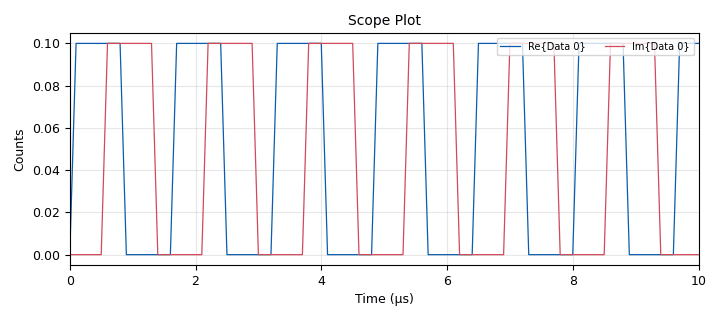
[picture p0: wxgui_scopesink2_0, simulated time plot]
<?xml version='1.0' encoding='utf-8'?>
<?grc format='1' created='3.7.9'?>
<flow_graph>
<block>
<key>options</key>
<param><key>id</key><value>top_block</value></param>
<param><key>category</key><value>Custom</value></param>
<param><key>generate_options</key><value>wx_gui</value></param>
</block>
<block>
<key>variable_slider</key>
<param><key>id</key><value>amp</value></param>
<param><key>converver</key><value>float_converter</value></param>
<param><key>value</key><value>0.1</value></param>
<param><key>label</key><value></value></param>
<param><key>max</key><value>1</value></param>
<param><key>min</key><value>0.1</value></param>
<param><key>num_steps</key><value>1000</value></param>
<param><key>style</key><value>wx.SL_HORIZONTAL</value></param>
</block>
<block>
<key>variable</key>
<param><key>id</key><value>samp_rate</value></param>
<param><key>value</key><value>10e6</value></param>
</block>
<block>
<key>variable_slider</key>
<param><key>id</key><value>slider_freq</value></param>
<param><key>converver</key><value>float_converter</value></param>
<param><key>value</key><value>0</value></param>
<param><key>_enabled</key><value>0</value></param>
<param><key>label</key><value>Ganancia canal</value></param>
<param><key>max</key><value>0</value></param>
<param><key>min</key><value>0</value></param>
<param><key>num_steps</key><value>100</value></param>
<param><key>style</key><value>wx.SL_HORIZONTAL</value></param>
</block>
<block>
<key>variable_slider</key>
<param><key>id</key><value>variable_slider_1</value></param>
<param><key>converver</key><value>float_converter</value></param>
<param><key>value</key><value>1e6</value></param>
<param><key>label</key><value>Frecuencia</value></param>
<param><key>max</key><value>10e6</value></param>
<param><key>min</key><value>50e3</value></param>
<param><key>num_steps</key><value>1000</value></param>
<param><key>style</key><value>wx.SL_HORIZONTAL</value></param>
</block>
<block>
<key>variable_text_box</key>
<param><key>id</key><value>variable_text_box_0</value></param>
<param><key>converver</key><value>float_converter</value></param>
<param><key>value</key><value>0</value></param>
<param><key>formatter</key><value>None</value></param>
<param><key>label</key><value></value></param>
</block>
<block>
<key>analog_sig_source_x</key>
<param><key>id</key><value>analog_sig_source_x_0</value></param>
<param><key>amp</key><value>1</value></param>
<param><key>_enabled</key><value>0</value></param>
<param><key>freq</key><value>variable_slider_1</value></param>
<param><key>offset</key><value>0</value></param>
<param><key>type</key><value>float</value></param>
<param><key>samp_rate</key><value>samp_rate</value></param>
<param><key>waveform</key><value>analog.GR_SQR_WAVE</value></param>
</block>
<block>
<key>blocks_delay</key>
<param><key>id</key><value>blocks_delay_0</value></param>
<param><key>delay</key><value>int(samp_rate/variable_slider_1/2)</value></param>
<param><key>type</key><value>float</value></param>
</block>
<block>
<key>blocks_float_to_complex</key>
<param><key>id</key><value>blocks_float_to_complex_0</value></param>
</block>
<block>
<key>blocks_multiply_const_vxx</key>
<param><key>id</key><value>blocks_multiply_const_vxx_0</value></param>
<param><key>const</key><value>amp</value></param>
<param><key>type</key><value>float</value></param>
</block>
<block>
<key>blocks_vector_source_x</key>
<param><key>id</key><value>blocks_vector_source_x_0</value></param>
<param><key>type</key><value>float</value></param>
<param><key>repeat</key><value>True</value></param>
<param><key>vector</key><value>(0, 0, 0,0,0,0,0,0,1,1,1,1,1,1,1,1)</value></param>
</block>
<block>
<key>uhd_usrp_sink</key>
<param><key>id</key><value>uhd_usrp_sink_0</value></param>
<param><key>ant0</key><value>TX/RX</value></param>
<param><key>center_freq0</key><value>0</value></param>
<param><key>norm_gain0</key><value>False</value></param>
<param><key>gain0</key><value>0</value></param>
<param><key>clock_rate</key><value>0.0</value></param>
<param><key>dev_args</key><value>""</value></param>
<param><key>type</key><value>fc32</value></param>
<param><key>samp_rate</key><value>samp_rate</value></param>
<param><key>hide_cmd_port</key><value>False</value></param>
<param><key>sync</key><value></value></param>
<param><key>len_tag_name</key><value></value></param>
</block>
<block>
<key>wxgui_scopesink2</key>
<param><key>id</key><value>wxgui_scopesink2_0</value></param>
<param><key>ac_couple</key><value>False</value></param>
<param><key>num_inputs</key><value>1</value></param>
<param><key>samp_rate</key><value>samp_rate</value></param>
<param><key>t_scale</key><value>0</value></param>
<param><key>title</key><value>Scope Plot</value></param>
<param><key>trig_mode</key><value>wxgui.TRIG_MODE_AUTO</value></param>
<param><key>type</key><value>complex</value></param>
<param><key>v_offset</key><value>0</value></param>
<param><key>v_scale</key><value>0</value></param>
<param><key>xy_mode</key><value>False</value></param>
<param><key>y_axis_label</key><value>Counts</value></param>
</block>
<connection><source_block_id>analog_sig_source_x_0</source_block_id><sink_block_id>blocks_multiply_const_vxx_0</sink_block_id><source_key>0</source_key><sink_key>0</sink_key></connection>
<connection><source_block_id>blocks_delay_0</source_block_id><sink_block_id>blocks_float_to_complex_0</sink_block_id><source_key>0</source_key><sink_key>1</sink_key></connection>
<connection><source_block_id>blocks_float_to_complex_0</source_block_id><sink_block_id>uhd_usrp_sink_0</sink_block_id><source_key>0</source_key><sink_key>0</sink_key></connection>
<connection><source_block_id>blocks_float_to_complex_0</source_block_id><sink_block_id>wxgui_scopesink2_0</sink_block_id><source_key>0</source_key><sink_key>0</sink_key></connection>
<connection><source_block_id>blocks_multiply_const_vxx_0</source_block_id><sink_block_id>blocks_delay_0</sink_block_id><source_key>0</source_key><sink_key>0</sink_key></connection>
<connection><source_block_id>blocks_multiply_const_vxx_0</source_block_id><sink_block_id>blocks_float_to_complex_0</sink_block_id><source_key>0</source_key><sink_key>0</sink_key></connection>
<connection><source_block_id>blocks_vector_source_x_0</source_block_id><sink_block_id>blocks_multiply_const_vxx_0</sink_block_id><source_key>0</source_key><sink_key>0</sink_key></connection>
</flow_graph>
